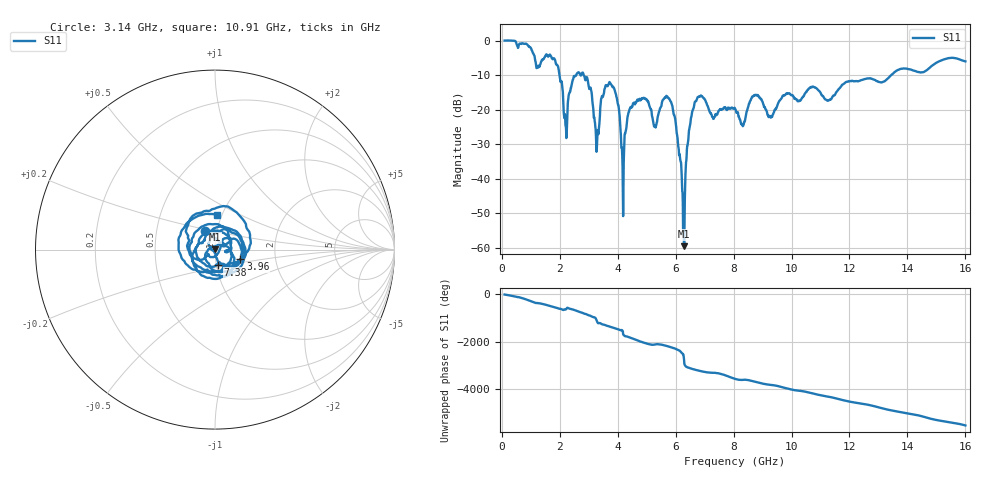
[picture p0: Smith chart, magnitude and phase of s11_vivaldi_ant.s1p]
#  HZ  S  DB  R  50.00
! Rohde & Schwarz ZVA40 2Ports - Version 2.79 - 1145.1110k40 SN: 100272
! Date: 2023-03-21 17:30:12
! Measurement: S11
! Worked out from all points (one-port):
!   1591 points, 100 MHz to 16 GHz, reference 50 ohm
!   lowest |S11| = -59.6 dB at 6.29 GHz (marker M1), VSWR 1.00, Z = 49.9 + j0.0567 ohm
!   |S11| at or under -10 dB: 1.993 GHz to 2.574 GHz (580.7 MHz wide, 25.4 % of centre); 2.717 GHz to 2.741 GHz (24.08 MHz wide, 0.883 % of centre); 2.827 GHz to 13.44 GHz (10.62 GHz wide, 130 % of centre)
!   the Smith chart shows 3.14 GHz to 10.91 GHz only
!   S11 on the Smith chart (normalised r, x): 3.14 GHz: 0.87, +0.19; 3.96 GHz: 1.32, -0.15; 7.38 GHz: 1.02, -0.17; 10.91 GHz: 0.95, +0.38
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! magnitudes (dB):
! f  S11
! 100 MHz  0.0
! 1.74 GHz  -5.2
! 2.09 GHz  -13.3
! 2.2 GHz  -24.6
! 2.62 GHz  -9.4
! 3.14 GHz  -18.4
! 3.3 GHz  -27.4
! 3.6 GHz  -12.9
! 3.96 GHz  -16.4
! 4.08 GHz  -23.4
! 4.19 GHz  -50.9
! 4.5 GHz  -19.2
! 4.96 GHz  -17.0
! 5.29 GHz  -24.9
! 5.7 GHz  -16.2
! 6.07 GHz  -28.4
! 6.29 GHz  -59.6
! 6.43 GHz  -29.5
! 6.64 GHz  -18.8
! 7.38 GHz  -21.3
! 8.05 GHz  -19.8
! 8.32 GHz  -24.8
! 8.7 GHz  -16.1
! 10.04 GHz  -15.9
! 10.91 GHz  -14.3
! 12.03 GHz  -11.8
! 14.02 GHz  -8.2
! 16 GHz  -6.0
